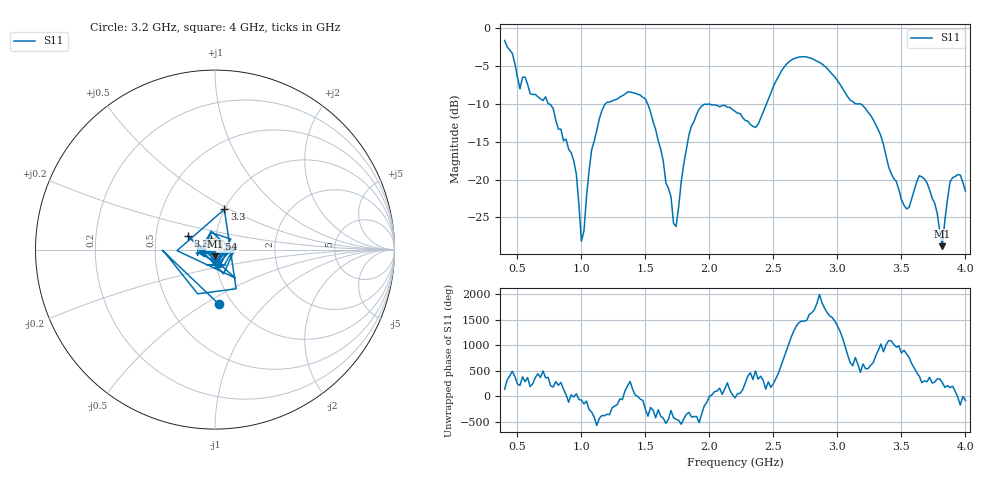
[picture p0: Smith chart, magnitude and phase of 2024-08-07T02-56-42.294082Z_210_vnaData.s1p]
!Created with skrf (http://scikit-rf.org).
# Hz S RI R 50.0
!freq ReS11 ImS11
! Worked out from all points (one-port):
!   181 points, 400 MHz to 4 GHz, reference 50 ohm
!   lowest |S11| = -28.8 dB at 3.82 GHz (marker M1), VSWR 1.08, Z = 49.8 - j3.62 ohm
!   |S11| at or under -10 dB: 740.9 MHz to 1.19 GHz (448.9 MHz wide, 46.5 % of centre); 1.517 GHz to 2.447 GHz (929.8 MHz wide, 46.9 % of centre); 3.14 GHz to end of sweep
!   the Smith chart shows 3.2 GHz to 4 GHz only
!   S11 on the Smith chart (normalised r, x): 3.2 GHz: 0.87, -0.58; 3.3 GHz: 1.00, +0.47; 3.36 GHz: 0.73, +0.12; 3.54 GHz: 0.95, +0.11; 4 GHz: 1.01, -0.17
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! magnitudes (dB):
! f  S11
! 400 MHz  -1.7
! 520 MHz  -8.1
! 720 MHz  -9.1
! 860 MHz  -14.9
! 960 MHz  -19.2
! 1 GHz  -28.1
! 1.08 GHz  -16.1
! 1.14 GHz  -12.0
! 1.3 GHz  -9.1
! 1.5 GHz  -9.4
! 1.62 GHz  -16.0
! 1.72 GHz  -25.8
! 1.76 GHz  -23.6
! 1.84 GHz  -14.1
! 1.92 GHz  -10.7
! 2.2 GHz  -11.0
! 2.36 GHz  -13.1
! 2.66 GHz  -4.1
! 3.1 GHz  -9.5
! 3.2 GHz  -10.3
! 3.3 GHz  -12.8
! 3.36 GHz  -15.4
! 3.54 GHz  -23.9
! 3.56 GHz  -23.7
! 3.68 GHz  -19.9
! 3.82 GHz  -28.8
! 3.88 GHz  -20.4
! 4 GHz  -21.5
